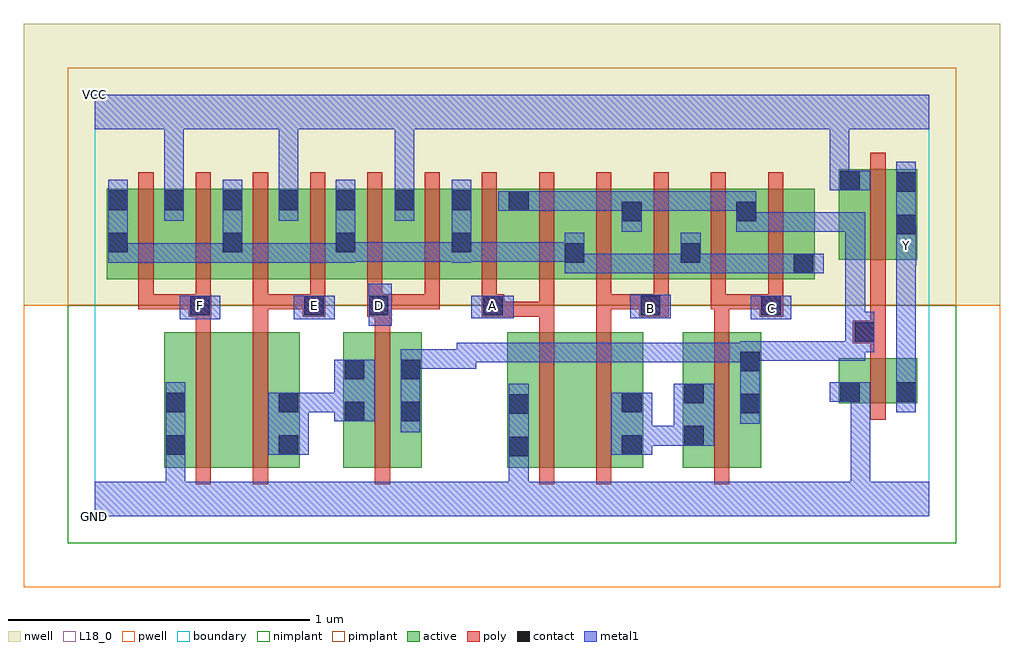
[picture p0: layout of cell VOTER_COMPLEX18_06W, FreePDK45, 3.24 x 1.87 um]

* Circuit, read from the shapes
.subckt VOTER_COMPLEX18_06W A B C D E F GND VCC Y
M1 n1 F GND VSUBS nfet w=0.45u l=0.05u
M2 n2 E n1 VSUBS nfet w=0.45u l=0.05u
M3 n3 D n2 VSUBS nfet w=0.45u l=0.05u
M4 n4 A GND VSUBS nfet w=0.45u l=0.05u
M5 n5 B n4 VSUBS nfet w=0.45u l=0.05u
M6 n3 C n5 VSUBS nfet w=0.45u l=0.05u
M7 Y n3 GND VSUBS nfet w=0.15u l=0.05u
M8 VCC F n6 n7 pfet w=0.3u l=0.05u m=2
M9 VCC E n6 n7 pfet w=0.3u l=0.05u m=2
M10 VCC D n6 n7 pfet w=0.3u l=0.05u m=2
M11 n3 A n6 n7 pfet w=0.3u l=0.05u m=2
M12 n3 B n6 n7 pfet w=0.3u l=0.05u m=2
M13 n3 C n6 n7 pfet w=0.3u l=0.05u m=2
M14 Y n3 VCC n7 pfet w=0.3u l=0.05u
.ends

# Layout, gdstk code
import gdstk
lib = gdstk.Library(unit=1e-6, precision=1e-09)
def R(c, l, rs):  # rectangles x0, y0, x1, y1
    for r in rs: c.add(gdstk.rectangle(r[:2], r[2:], *l))
def A(c, l, x, y, w, h, nx, ny, dx, dy):  # array of equal rectangles
    R(c, l, [(x+i*dx, y+j*dy, x+i*dx+w, y+j*dy+h) for i in range(nx) for j in range(ny)])
active = (1, 0)
pwell = (2, 0)
nwell = (3, 0)
nimplant = (4, 0)
pimplant = (5, 0)
poly = (9, 0)
contact = (10, 0)
metal1 = (11, 0)
L18_0 = (18, 0)
boundary = (235, 0)

voter_complex18_06w = lib.new_cell('VOTER_COMPLEX18_06W')
R(voter_complex18_06w, active, [(0.23,0.162,0.455,0.612), (0.455,0.162,0.68,0.612), (0.825,0.162,1.085,0.612), (1.37,0.162,1.595,0.612), (1.595,0.162,1.82,0.612), (1.952,0.162,2.212,0.612), (0.23,0.195,0.305,0.612), (0.605,0.195,0.68,0.612), (0.825,0.195,0.9,0.612), (1.01,0.195,1.085,0.612), (1.37,0.195,1.445,0.612), (1.745,0.195,1.82,0.612), (1.952,0.195,2.027,0.612), (2.137,0.195,2.212,0.612), (2.47,0.375,2.545,0.525), (2.47,0.375,2.73,0.525), (2.655,0.375,2.73,0.525), (0.04,0.787,0.115,1.087), (0.04,0.787,0.3,1.087), (0.225,0.787,0.495,1.087), (0.42,0.787,0.495,1.087), (0.42,0.787,0.68,1.087), (0.605,0.787,0.68,1.087), (0.605,0.787,0.87,1.087), (0.795,0.787,0.87,1.087), (0.795,0.787,1.065,1.087), (0.99,0.787,1.255,1.087), (1.18,0.787,1.255,1.087), (1.18,0.787,1.445,1.087), (1.37,0.787,1.445,1.087), (1.37,0.787,1.63,1.087), (1.555,0.787,1.82,1.087), (1.745,0.787,1.82,1.055), (1.745,0.787,2.015,1.087), (1.94,0.787,2.2,1.087), (2.125,0.787,2.39,1.087), (2.125,0.787,2.2,1.055), (2.315,0.802,2.39,1.047), (1.555,0.837,1.63,1.055), (1.94,0.837,2.015,1.055), (0.225,0.852,0.3,1.087), (0.99,0.852,1.065,1.087), (2.47,0.852,2.73,1.152), (2.655,0.852,2.73,1.152), (2.47,1.007,2.545,1.152)])
R(voter_complex18_06w, pwell, [(-0.235,-0.235,3.005,0.7)])
R(voter_complex18_06w, nwell, [(-0.235,0.7,3.005,1.635)])
R(voter_complex18_06w, nimplant, [(-0.09,-0.09,2.86,0.7)])
R(voter_complex18_06w, pimplant, [(-0.09,0.7,2.86,1.49)])
A(voter_complex18_06w, poly, 0.145, 0.687, 0.05, 0.095, 7, 1, 0.19, 0)
A(voter_complex18_06w, poly, 1.665, 0.687, 0.05, 0.095, 4, 1, 0.19, 0)
A(voter_complex18_06w, poly, 0.145, 0.732, 0.05, 0.41, 12, 1, 0.19, 0)
R(voter_complex18_06w, poly, [(0.335,0.107,0.385,0.667), (0.525,0.107,0.575,0.667), (0.93,0.107,0.98,0.667), (1.475,0.107,1.525,0.667), (1.665,0.107,1.715,0.667), (2.057,0.107,2.107,0.667), (2.575,0.32,2.625,0.58), (2.575,0.53,2.625,0.625), (2.517,0.575,2.625,0.65), (2.575,0.6,2.625,0.847), (0.335,0.617,0.385,0.712), (0.525,0.617,0.575,0.737), (0.93,0.617,0.98,0.712), (1.475,0.617,1.525,0.712), (1.665,0.617,1.715,0.737), (2.057,0.617,2.107,0.737), (0.312,0.662,0.387,0.737), (0.69,0.662,0.765,0.737), (0.905,0.662,0.98,0.737), (1.285,0.662,1.36,0.737), (1.31,0.662,1.525,0.712), (1.475,0.662,1.525,0.712), (1.475,0.662,1.525,0.712), (1.475,0.662,1.525,0.712), (1.475,0.662,1.525,0.782), (1.807,0.662,1.905,0.737), (2.207,0.662,2.285,0.737), (0.145,0.687,0.195,0.737), (0.145,0.687,0.195,0.737), (0.145,0.687,0.195,0.737), (0.145,0.687,0.362,0.737), (0.525,0.687,0.575,0.737), (0.525,0.687,0.74,0.737), (0.69,0.687,0.74,0.737), (0.69,0.687,0.74,0.737), (0.93,0.687,1.145,0.737), (1.095,0.687,1.145,0.737), (1.095,0.687,1.145,0.737), (1.095,0.687,1.145,0.737), (1.665,0.687,1.715,0.737), (1.665,0.687,1.857,0.737), (1.807,0.687,1.857,0.737), (1.807,0.687,1.857,0.737), (2.045,0.687,2.107,0.737), (2.057,0.687,2.257,0.737), (2.057,0.687,2.107,0.737), (2.057,0.687,2.107,0.737), (2.575,0.797,2.625,1.207)])
R(voter_complex18_06w, contact, [(1.375,0.2,1.44,0.265), (0.235,0.205,0.3,0.27), (0.61,0.205,0.675,0.27), (1.75,0.205,1.815,0.27), (1.957,0.235,2.022,0.3), (0.83,0.315,0.895,0.38), (1.015,0.315,1.08,0.38), (1.375,0.34,1.44,0.405), (2.142,0.342,2.207,0.407), (0.235,0.345,0.3,0.41), (0.61,0.345,0.675,0.41), (1.75,0.345,1.815,0.41), (1.957,0.375,2.022,0.44), (2.475,0.38,2.54,0.445), (2.66,0.38,2.725,0.445), (0.83,0.455,0.895,0.52), (1.015,0.455,1.08,0.52), (2.142,0.482,2.207,0.547), (2.522,0.58,2.587,0.645), (0.317,0.667,0.382,0.732), (0.695,0.667,0.76,0.732), (0.91,0.667,0.975,0.732), (1.29,0.667,1.355,0.732), (1.812,0.667,1.877,0.732), (2.212,0.667,2.277,0.732), (2.32,0.807,2.385,0.872), (1.56,0.842,1.625,0.907), (1.945,0.842,2.01,0.907), (0.045,0.877,0.11,0.942), (0.425,0.877,0.49,0.942), (0.8,0.877,0.865,0.942), (1.185,0.877,1.25,0.942), (2.66,0.937,2.725,1.002), (1.75,0.98,1.815,1.045), (2.13,0.98,2.195,1.045), (1.375,1.015,1.44,1.08), (0.045,1.017,0.11,1.082), (0.23,1.017,0.295,1.082), (0.425,1.017,0.49,1.082), (0.61,1.017,0.675,1.082), (0.8,1.017,0.865,1.082), (0.995,1.017,1.06,1.082), (1.185,1.017,1.25,1.082), (2.66,1.077,2.725,1.142), (2.475,1.082,2.54,1.147)])
R(voter_complex18_06w, metal1, [(0,0,2.77,0.115), (0.235,0.05,0.3,0.235), (1.375,0.05,1.44,0.115), (1.375,0.05,1.44,0.115), (1.375,0.05,1.44,0.23), (2.51,0.05,2.575,0.115), (2.51,0.05,2.575,0.115), (2.51,0.05,2.575,0.115), (2.51,0.05,2.575,0.115), (2.51,0.05,2.575,0.115), (2.51,0.05,2.575,0.115), (2.51,0.05,2.575,0.445), (1.375,0.165,1.44,0.44), (0.235,0.17,0.3,0.235), (0.235,0.17,0.3,0.235), (0.235,0.17,0.3,0.445), (0.575,0.205,0.71,0.41), (1.715,0.205,1.85,0.41), (1.785,0.235,1.85,0.3), (1.785,0.235,1.85,0.3), (1.785,0.235,1.987,0.3), (1.922,0.235,2.057,0.44), (1.015,0.28,1.08,0.555), (2.142,0.307,2.207,0.582), (0.795,0.315,0.93,0.52), (0.645,0.345,0.71,0.41), (0.645,0.345,0.71,0.41), (0.645,0.345,0.86,0.41), (2.66,0.345,2.725,0.48), (2.44,0.38,2.575,0.445), (2.66,0.415,2.725,0.897), (1.015,0.49,1.112,0.555), (1.047,0.49,1.112,0.555), (1.047,0.49,1.267,0.555), (1.202,0.49,1.267,0.577), (1.202,0.512,1.267,0.577), (1.202,0.512,1.267,0.577), (1.202,0.512,1.487,0.577), (1.422,0.512,1.487,0.577), (1.422,0.512,1.487,0.577), (1.422,0.512,1.487,0.577), (1.422,0.512,1.642,0.577), (1.577,0.512,1.642,0.577), (1.577,0.512,1.642,0.577), (1.577,0.512,1.642,0.577), (1.577,0.512,1.792,0.577), (1.727,0.512,1.792,0.577), (1.727,0.512,1.792,0.577), (1.727,0.512,1.792,0.577), (1.727,0.512,2.057,0.577), (1.992,0.512,2.057,0.577), (1.992,0.512,2.057,0.577), (1.992,0.512,2.057,0.577), (1.992,0.512,2.207,0.577), (2.142,0.517,2.367,0.582), (2.302,0.517,2.367,0.582), (2.302,0.517,2.45,0.582), (2.385,0.517,2.45,0.582), (2.385,0.517,2.557,0.582), (2.492,0.517,2.557,0.582), (2.492,0.517,2.557,0.61), (2.492,0.545,2.557,0.61), (2.492,0.545,2.557,0.61), (2.492,0.545,2.557,0.61), (2.492,0.545,2.587,0.61), (2.492,0.545,2.557,1.01), (2.522,0.545,2.587,0.68), (0.91,0.632,0.985,0.772), (0.282,0.655,0.417,0.732), (0.66,0.655,0.797,0.732), (2.177,0.655,2.312,0.732), (1.25,0.657,1.39,0.732), (1.777,0.657,1.912,0.735), (1.56,0.807,1.625,0.872), (1.56,0.807,1.625,0.872), (1.56,0.807,1.625,0.942), (1.56,0.807,1.85,0.872), (1.785,0.807,1.85,0.872), (1.785,0.807,1.85,0.872), (1.785,0.807,1.85,0.872), (1.785,0.807,2.01,0.872), (1.945,0.807,2.012,0.942), (1.947,0.807,2.012,0.872), (1.947,0.807,2.012,0.872), (1.947,0.807,2.212,0.872), (2.147,0.807,2.212,0.872), (2.147,0.807,2.35,0.872), (2.285,0.807,2.35,0.872), (2.285,0.807,2.35,0.872), (2.285,0.807,2.42,0.872), (2.66,0.832,2.727,0.967), (0.045,0.842,0.11,0.907), (0.045,0.842,0.11,0.907), (0.045,0.842,0.11,1.117), (0.045,0.842,0.352,0.907), (0.287,0.842,0.352,0.907), (0.287,0.842,0.352,0.907), (0.287,0.842,0.352,0.907), (0.287,0.842,0.49,0.907), (0.425,0.842,0.49,0.907), (0.425,0.842,0.49,0.907), (0.425,0.842,0.49,1.117), (0.425,0.842,0.627,0.907), (0.562,0.842,0.627,0.907), (0.562,0.842,0.627,0.907), (0.562,0.842,0.627,0.907), (0.562,0.842,0.865,0.907), (0.8,0.842,0.865,1.117), (1.185,0.842,1.25,1.117), (0.8,0.845,0.865,0.91), (0.8,0.845,0.865,0.91), (0.8,0.845,1.112,0.91), (1.047,0.845,1.112,0.91), (1.047,0.845,1.112,0.91), (1.047,0.845,1.112,0.91), (1.047,0.845,1.25,0.91), (1.185,0.845,1.25,0.91), (1.185,0.845,1.25,0.91), (1.185,0.845,1.405,0.91), (1.34,0.845,1.405,0.91), (1.34,0.845,1.405,0.91), (1.34,0.845,1.405,0.91), (1.34,0.845,1.625,0.91), (2.66,0.902,2.725,0.967), (2.66,0.902,2.725,1.177), (1.75,0.945,1.815,1.08), (2.13,0.945,2.195,1.01), (2.13,0.945,2.195,1.01), (2.13,0.945,2.195,1.08), (2.13,0.945,2.367,1.01), (2.302,0.945,2.367,1.01), (2.302,0.945,2.557,1.01), (2.492,0.945,2.557,1.01), (0.23,0.982,0.295,1.117), (0.61,0.982,0.675,1.117), (0.995,0.982,1.06,1.117), (1.34,1.015,1.475,1.08), (1.41,1.015,1.475,1.08), (1.41,1.015,1.475,1.08), (1.41,1.015,1.642,1.08), (1.577,1.015,1.642,1.08), (1.577,1.015,1.642,1.08), (1.577,1.015,1.642,1.08), (1.577,1.015,1.815,1.08), (1.75,1.015,1.815,1.08), (1.75,1.015,1.815,1.08), (1.75,1.015,2.057,1.08), (1.992,1.015,2.057,1.08), (1.992,1.015,2.057,1.08), (1.992,1.015,2.057,1.08), (1.992,1.015,2.195,1.08), (0.23,1.052,0.295,1.117), (0.23,1.052,0.295,1.117), (0.23,1.052,0.295,1.35), (0.61,1.052,0.675,1.117), (0.61,1.052,0.675,1.117), (0.61,1.052,0.675,1.35), (0.995,1.052,1.06,1.117), (0.995,1.052,1.06,1.117), (0.995,1.052,1.06,1.35), (2.44,1.082,2.505,1.147), (2.44,1.082,2.505,1.147), (2.44,1.082,2.505,1.35), (2.44,1.082,2.575,1.147), (0,1.285,2.77,1.4)])
R(voter_complex18_06w, L18_0, [(0,0,2.77,0.115), (0.235,0.05,0.3,0.235), (1.375,0.05,1.44,0.115), (1.375,0.05,1.44,0.115), (1.375,0.05,1.44,0.23), (2.51,0.05,2.575,0.115), (2.51,0.05,2.575,0.115), (2.51,0.05,2.575,0.115), (2.51,0.05,2.575,0.115), (2.51,0.05,2.575,0.115), (2.51,0.05,2.575,0.115), (2.51,0.05,2.575,0.445), (1.375,0.165,1.44,0.44), (0.235,0.17,0.3,0.235), (0.235,0.17,0.3,0.235), (0.235,0.17,0.3,0.445), (2.66,0.345,2.725,0.48), (2.44,0.38,2.575,0.445), (2.66,0.415,2.725,0.897), (0.91,0.632,0.985,0.772), (0.282,0.655,0.417,0.732), (0.66,0.655,0.797,0.732), (2.177,0.655,2.312,0.732), (1.25,0.657,1.39,0.732), (1.777,0.657,1.912,0.735), (1.812,0.657,1.877,0.722), (2.212,0.657,2.277,0.722), (0.317,0.667,0.382,0.732), (0.697,0.667,0.762,0.732), (0.912,0.667,0.977,0.732), (1.287,0.667,1.352,0.732), (2.66,0.832,2.727,0.967), (2.662,0.867,2.727,0.932), (2.66,0.902,2.725,0.967), (2.66,0.902,2.725,1.177), (0.23,0.982,0.295,1.117), (0.61,0.982,0.675,1.117), (0.995,0.982,1.06,1.117), (0.23,1.052,0.295,1.117), (0.23,1.052,0.295,1.117), (0.23,1.052,0.295,1.35), (0.61,1.052,0.675,1.117), (0.61,1.052,0.675,1.117), (0.61,1.052,0.675,1.35), (0.995,1.052,1.06,1.117), (0.995,1.052,1.06,1.117), (0.995,1.052,1.06,1.35), (2.44,1.082,2.505,1.147), (2.44,1.082,2.505,1.147), (2.44,1.082,2.575,1.147), (2.44,1.082,2.505,1.35), (0,1.285,2.77,1.4)])
R(voter_complex18_06w, boundary, [(0,0,2.77,1.4)])
voter_complex18_06w.add(gdstk.Label('A', (1.32,0.7), layer=11, texttype=0))
voter_complex18_06w.add(gdstk.Label('B', (1.845,0.69), layer=11, texttype=0))
voter_complex18_06w.add(gdstk.Label('C', (2.245,0.69), layer=11, texttype=0))
voter_complex18_06w.add(gdstk.Label('D', (0.945,0.7), layer=11, texttype=0))
voter_complex18_06w.add(gdstk.Label('E', (0.73,0.7), layer=11, texttype=0))
voter_complex18_06w.add(gdstk.Label('F', (0.35,0.7), layer=11, texttype=0))
voter_complex18_06w.add(gdstk.Label('Y', (2.695,0.9), layer=11, texttype=0))
voter_complex18_06w.add(gdstk.Label('VCC', (0,1.4), layer=11, texttype=0))
voter_complex18_06w.add(gdstk.Label('GND', (0,0), layer=11, texttype=0))

lib.write_gds('VOTER_COMPLEX18_06W.gds')
